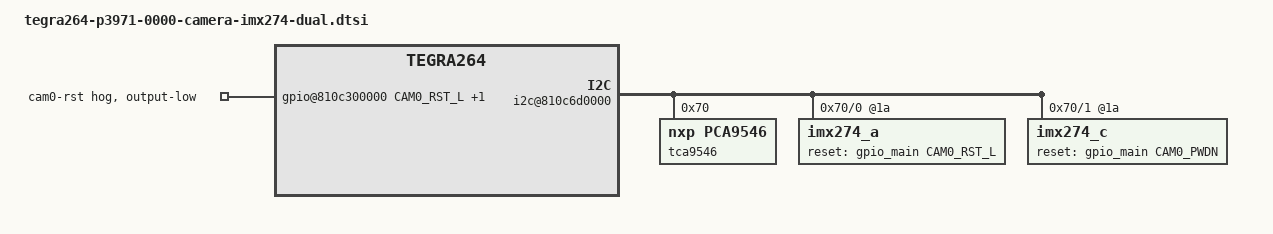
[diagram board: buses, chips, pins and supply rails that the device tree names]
// SPDX-License-Identifier: GPL-2.0-only
// SPDX-FileCopyrightText: Copyright (c) 2024, NVIDIA CORPORATION & AFFILIATES.  All rights reserved.

#include "tegra264-camera-imx274-dual.dtsi"
#include <dt-bindings/clock/tegra264-clk.h>

#define CAM0_RST_L	TEGRA264_MAIN_GPIO(V, 2)
#define CAM0_PWDN	TEGRA264_MAIN_GPIO(AL, 1)

/* camera control gpio definitions */

/ {
	bus@0 {
		gpio@810c300000 {
			status = "okay";
			camera-control-output-low {
				gpio-hog;
				output-low;
				gpios = <CAM0_RST_L 0 CAM0_PWDN 0>;
				label = "cam0-rst", "cam0-pwdn";
			};
		};

		i2c@810c6d0000 {
			tca9546@70 {
				compatible = "nxp,pca9546";
				reg = <0x70>;
				#address-cells = <1>;
				#size-cells = <0>;
				skip_mux_detect = "yes";

				i2c@0 {
					reg = <0>;
					i2c-mux,deselect-on-exit;
					#address-cells = <1>;
					#size-cells = <0>;
					imx274_a@1a {
						/* Define any required hw resources needed by driver */
						/* ie. clocks, io pins, power sources */
						clocks = <&bpmp TEGRA264_CLK_EXTPERIPH1>,
								<&bpmp TEGRA264_CLK_EXTPERIPH1>;
						clock-names = "extperiph1", "pllp_grtba";
						mclk = "extperiph1";
						reset-gpios = <&gpio_main CAM0_RST_L GPIO_ACTIVE_HIGH>;
					};
				};

				i2c@1 {
					reg = <1>;
					i2c-mux,deselect-on-exit;
					#address-cells = <1>;
					#size-cells = <0>;
					imx274_c@1a {
						/* Define any required hw resources needed by driver */
						/* ie. clocks, io pins, power sources */
						clocks = <&bpmp TEGRA264_CLK_EXTPERIPH1>,
								<&bpmp TEGRA264_CLK_EXTPERIPH1>;
						clock-names = "extperiph1", "pllp_grtba";
						mclk = "extperiph1";
						reset-gpios = <&gpio_main CAM0_PWDN GPIO_ACTIVE_HIGH>;
					};
				};
			};
		};
	};
};
